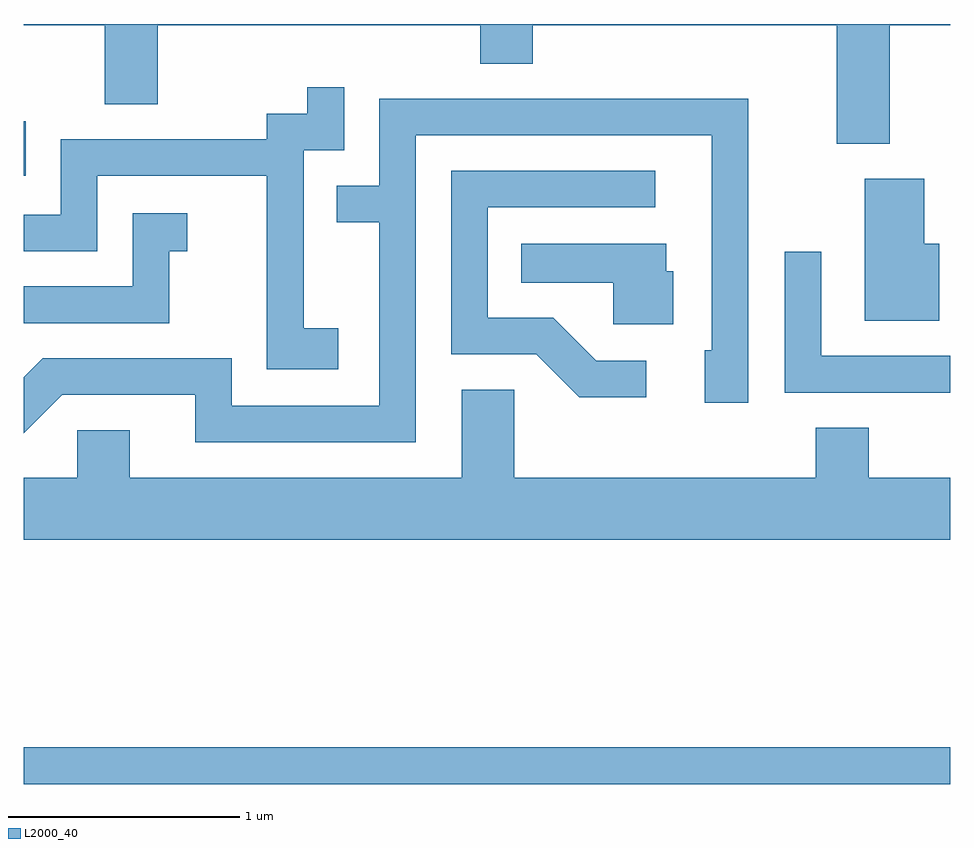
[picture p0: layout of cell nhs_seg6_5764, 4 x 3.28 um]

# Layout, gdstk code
import gdstk
lib = gdstk.Library(unit=1e-6, precision=1e-09)
def R(c, l, rs):  # rectangles x0, y0, x1, y1
    for r in rs: c.add(gdstk.rectangle(r[:2], r[2:], *l))
def P(c, l, *ps):  # polygons
    for p in ps: c.add(gdstk.Polygon(p, *l))
L2000_40 = (2000, 40)

nhs_seg6_5764 = lib.new_cell('nhs_seg6_5764')
R(nhs_seg6_5764, L2000_40, [(359.611,1648.881,363.611,1649.039), (359.611,1651.506,359.619,1651.743)])
P(nhs_seg6_5764, L2000_40, [(363.349,1652.156),(363.611,1652.156),(363.611,1652.162),(359.611,1652.162),(359.611,1652.156),(359.961,1652.156),(359.961,1651.816),(360.189,1651.816),(360.189,1652.156),(361.581,1652.156),(361.581,1651.991),(361.809,1651.991),(361.809,1652.156),(363.121,1652.156),(363.121,1651.646),(363.349,1651.646)],
  [(360.969,1650.849),(360.819,1650.849),(360.819,1651.616),(360.994,1651.616),(360.994,1651.888),(360.836,1651.888),(360.836,1651.774),(360.661,1651.774),(360.661,1651.664),(359.771,1651.664),(359.771,1651.339),(359.611,1651.339),(359.611,1651.181),(359.929,1651.181),(359.929,1651.506),(360.661,1651.506),(360.661,1650.671),(360.969,1650.671)],
  [(361.304,1651.681),(362.581,1651.681),(362.581,1650.754),(362.551,1650.754),(362.551,1650.526),(362.739,1650.526),(362.739,1651.839),(361.146,1651.839),(361.146,1651.464),(360.963,1651.464),(360.963,1651.306),(361.146,1651.306),(361.146,1650.514),(360.509,1650.514),(360.509,1650.719),(359.694,1650.719),(359.611,1650.636),(359.611,1650.395),(359.777,1650.561),(360.351,1650.561),(360.351,1650.356),(361.304,1650.356)],
  [(362.298,1650.709),(362.082,1650.709),(361.897,1650.894),(361.614,1650.894),(361.614,1651.371),(362.338,1651.371),(362.338,1651.529),(361.456,1651.529),(361.456,1650.736),(361.824,1650.736),(362.009,1650.551),(362.298,1650.551)],
  [(363.564,1651.214),(363.499,1651.214),(363.499,1651.494),(363.241,1651.494),(363.241,1650.881),(363.564,1650.881)],
  [(360.239,1651.181),(360.318,1651.181),(360.318,1651.344),(360.081,1651.344),(360.081,1651.029),(359.611,1651.029),(359.611,1650.871),(360.239,1650.871)],
  [(362.414,1651.094),(362.384,1651.094),(362.384,1651.214),(361.758,1651.214),(361.758,1651.046),(362.156,1651.046),(362.156,1650.866),(362.414,1650.866)],
  [(363.611,1650.729),(363.054,1650.729),(363.054,1651.178),(362.896,1651.178),(362.896,1650.571),(363.611,1650.571)],
  [(363.611,1650.204),(363.259,1650.204),(363.259,1650.419),(363.031,1650.419),(363.031,1650.204),(361.729,1650.204),(361.729,1650.584),(361.501,1650.584),(361.501,1650.204),(360.069,1650.204),(360.069,1650.409),(359.841,1650.409),(359.841,1650.204),(359.611,1650.204),(359.611,1649.936),(363.611,1649.936)])

lib.write_gds('nhs_seg6_5764.gds')
